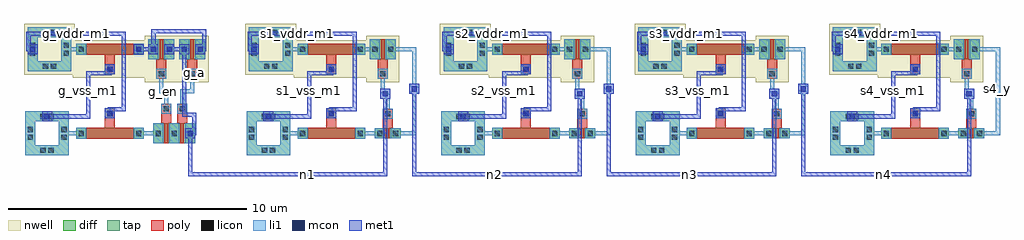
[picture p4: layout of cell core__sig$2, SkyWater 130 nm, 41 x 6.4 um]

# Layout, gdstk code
from math import pi, radians
import gdstk
lib = gdstk.Library(unit=1e-6, precision=1e-09)
def R(c, l, rs):  # rectangles x0, y0, x1, y1
    for r in rs: c.add(gdstk.rectangle(r[:2], r[2:], *l))
def A(c, l, x, y, w, h, nx, ny, dx, dy):  # array of equal rectangles
    R(c, l, [(x+i*dx, y+j*dy, x+i*dx+w, y+j*dy+h) for i in range(nx) for j in range(ny)])
def P(c, l, *ps):  # polygons
    for p in ps: c.add(gdstk.Polygon(p, *l))
nwell = (64, 20)
diff = (65, 20)
tap = (65, 44)
poly = (66, 20)
licon = (66, 44)
li1 = (67, 20)
mcon = (67, 44)
met1 = (68, 20)

mos_array_3_4_2 = lib.new_cell('mos_array$3$4$2')
R(mos_array_3_4_2, nwell, [(-0.15,-0.15,1.24,1.81)])
R(mos_array_3_4_2, diff, [(0,0,1.09,0.84)])
R(mos_array_3_4_2, poly, [(0.47,0,0.62,0.84), (0.335,0.84,0.755,1.66)])
R(mos_array_3_4_2, licon, [(0.1,0.31,0.32,0.53), (0.77,0.31,0.99,0.53), (0.435,1.34,0.655,1.56)])
R(mos_array_3_4_2, li1, [(0,0,0.42,0.84), (0.67,0,1.09,0.84), (0.335,1.24,0.755,1.66)])

mp__mp_3_2 = lib.new_cell('mp__mp$3$2')
mp__mp_3_2.add(gdstk.Reference(mos_array_3_4_2, (0,0)))

guard_ring_1_4_2 = lib.new_cell('guard_ring$1$4$2')
R(guard_ring_1_4_2, nwell, [(-0.15,-0.15,1.99,1.99)])
P(guard_ring_1_4_2, tap, [(0,0),(0,1.42),(0.42,1.42),(0.42,0.42),(1.42,0.42),(1.42,1.42),(0,1.42),(0,1.84),(1.84,1.84),(1.84,0)])
R(guard_ring_1_4_2, licon, [(0.643,0.1,0.863,0.32), (0.977,0.1,1.197,0.32), (0.1,0.643,0.32,0.863), (1.52,0.643,1.74,0.863), (0.1,0.977,0.32,1.197), (1.52,0.977,1.74,1.197), (0.643,1.52,0.863,1.74), (0.977,1.52,1.197,1.74)])
P(guard_ring_1_4_2, li1, [(0,0),(0,1.42),(0.42,1.42),(0.42,0.42),(1.42,0.42),(1.42,1.42),(0,1.42),(0,1.84),(1.84,1.84),(1.84,0)])

nwell_tap__nwell_tap_4_2 = lib.new_cell('nwell_tap__nwell_tap$4$2')
nwell_tap__nwell_tap_4_2.add(gdstk.Reference(guard_ring_1_4_2, (0,0)))

mos_array_2_4_2 = lib.new_cell('mos_array$2$4$2')
R(mos_array_2_4_2, nwell, [(-0.15,-0.15,2.99,1.43)])
R(mos_array_2_4_2, diff, [(0,0,2.84,0.46)])
R(mos_array_2_4_2, poly, [(0.42,0,2.42,0.46), (1.21,0.46,1.63,1.28)])
R(mos_array_2_4_2, licon, [(0.1,0.12,0.32,0.34), (2.52,0.12,2.74,0.34), (1.31,0.96,1.53,1.18)])
R(mos_array_2_4_2, li1, [(0,0,0.42,0.46), (2.42,0,2.84,0.46), (1.21,0.86,1.63,1.28)])

mph__mph_4_2 = lib.new_cell('mph__mph$4$2')
mph__mph_4_2.add(gdstk.Reference(mos_array_2_4_2, (0,0)))

mos_array_1_4_2 = lib.new_cell('mos_array$1$4$2')
R(mos_array_1_4_2, diff, [(0,0,1.09,0.42)])
R(mos_array_1_4_2, poly, [(0.47,0,0.62,0.42), (0.335,0.42,0.755,1.24)])
R(mos_array_1_4_2, licon, [(0.1,0.1,0.32,0.32), (0.77,0.1,0.99,0.32), (0.435,0.92,0.655,1.14)])
R(mos_array_1_4_2, li1, [(0,0,0.42,0.42), (0.67,0,1.09,0.42), (0.335,0.82,0.755,1.24)])

mn__mn_3_2 = lib.new_cell('mn__mn$3$2')
mn__mn_3_2.add(gdstk.Reference(mos_array_1_4_2, (0,0)))

guard_ring_5_2 = lib.new_cell('guard_ring$5$2')
P(guard_ring_5_2, tap, [(0,0),(0,1.42),(0.42,1.42),(0.42,0.42),(1.42,0.42),(1.42,1.42),(0,1.42),(0,1.84),(1.84,1.84),(1.84,0)])
R(guard_ring_5_2, licon, [(0.643,0.1,0.863,0.32), (0.977,0.1,1.197,0.32), (0.1,0.643,0.32,0.863), (1.52,0.643,1.74,0.863), (0.1,0.977,0.32,1.197), (1.52,0.977,1.74,1.197), (0.643,1.52,0.863,1.74), (0.977,1.52,1.197,1.74)])
P(guard_ring_5_2, li1, [(0,0),(0,1.42),(0.42,1.42),(0.42,0.42),(1.42,0.42),(1.42,1.42),(0,1.42),(0,1.84),(1.84,1.84),(1.84,0)])

psub_tap__psub_tap_4_2 = lib.new_cell('psub_tap__psub_tap$4$2')
psub_tap__psub_tap_4_2.add(gdstk.Reference(guard_ring_5_2, (0,0)))

mos_array_8_2 = lib.new_cell('mos_array$8$2')
R(mos_array_8_2, diff, [(0,0,2.84,0.46)])
R(mos_array_8_2, poly, [(0.42,0,2.42,0.46), (1.21,0.46,1.63,1.28)])
R(mos_array_8_2, licon, [(0.1,0.12,0.32,0.34), (2.52,0.12,2.74,0.34), (1.31,0.96,1.53,1.18)])
R(mos_array_8_2, li1, [(0,0,0.42,0.46), (2.42,0,2.84,0.46), (1.21,0.86,1.63,1.28)])

mnt__mnt_4_2 = lib.new_cell('mnt__mnt$4$2')
mnt__mnt_4_2.add(gdstk.Reference(mos_array_8_2, (0,0)))

core__core_4_2 = lib.new_cell('core__core$4$2')
R(core__core_4_2, li1, [(3.575,1.03,3.995,1.2), (3.375,2.54,3.795,2.71)])
core__core_4_2.add(gdstk.FlexPath([(3.585,2.71),(3.585,1.87),(3.785,1.87),(3.785,1.03)], 0.17, ends="flush", simple_path=True, layer=67, datatype=20))  # li1
core__core_4_2.add(gdstk.FlexPath([(3.92,3.74),(4.9,3.74),(4.9,0.21),(4.12,0.21)], 0.17, ends="flush", simple_path=True, layer=67, datatype=20))  # li1
core__core_4_2.add(gdstk.FlexPath([(2.63,3.74),(3.25,3.74)], 0.17, ends="flush", simple_path=True, layer=67, datatype=20))  # li1
core__core_4_2.add(gdstk.FlexPath([(2.63,0.21),(3.45,0.21)], 0.17, ends="flush", simple_path=True, layer=67, datatype=20))  # li1
core__core_4_2.add(gdstk.FlexPath([(0.21,3.74),(-0.41,3.74)], 0.17, ends="flush", simple_path=True, layer=67, datatype=20))  # li1
core__core_4_2.add(gdstk.FlexPath([(0.21,0.21),(-0.51,0.21)], 0.17, ends="flush", simple_path=True, layer=67, datatype=20))  # li1
core__core_4_2.add(gdstk.Reference(mp__mp_3_2, (3.04,4.16), x_reflection=True))
core__core_4_2.add(gdstk.Reference(nwell_tap__nwell_tap_4_2, (-2.04,2.82)))
core__core_4_2.add(gdstk.Reference(mph__mph_4_2, (0,3.97), x_reflection=True))
core__core_4_2.add(gdstk.Reference(mn__mn_3_2, (3.24,0)))
core__core_4_2.add(gdstk.Reference(psub_tap__psub_tap_4_2, (-2.14,-0.71)))
core__core_4_2.add(gdstk.Reference(mnt__mnt_4_2, (0,-0.02)))
core__core_4_2.add(gdstk.Label('a', (3.685,1.87), layer=67, texttype=5))
core__core_4_2.add(gdstk.Label('y', (4.9,2.075), layer=67, texttype=5))
core__core_4_2.add(gdstk.Label('py', (2.94,3.74), layer=67, texttype=5))
core__core_4_2.add(gdstk.Label('ny', (3.04,0.21), layer=67, texttype=5))
core__core_4_2.add(gdstk.Label('vddr', (-0.1,3.74), layer=67, texttype=5))
core__core_4_2.add(gdstk.Label('vss', (-0.15,0.21), layer=67, texttype=5))
core__core_4_2.add(gdstk.Label('vddr', (-1.83,3.74), layer=67, texttype=5))
core__core_4_2.add(gdstk.Label('vss', (-1.22,0.92), layer=67, texttype=5))
core__core_4_2.add(gdstk.Label('mph_g', (1.42,2.9), layer=67, texttype=5))
core__core_4_2.add(gdstk.Label('mnt_g', (1.42,1.05), layer=67, texttype=5))

s4__ro_stage_wstv0p46 = lib.new_cell('s4__ro_stage_wstv0p46')
R(s4__ro_stage_wstv0p46, li1, [(-1.43,0.71,-1.01,1.13), (1.21,0.84,1.63,1.26), (1.21,2.69,1.63,3.11), (-2.04,3.53,-1.62,3.95)])
R(s4__ro_stage_wstv0p46, mcon, [(-1.33,0.81,-1.11,1.03), (1.31,0.94,1.53,1.16), (1.31,2.79,1.53,3.01), (-1.94,3.63,-1.72,3.85)])
R(s4__ro_stage_wstv0p46, met1, [(-1.43,0.71,-1.01,1.13), (1.21,0.84,1.63,1.26), (1.21,2.69,1.63,3.11), (-2.04,3.53,-1.62,3.95)])
s4__ro_stage_wstv0p46.add(gdstk.FlexPath([(1.42,2.9),(1.42,2.73),(0.5,2.73),(0.5,0.92),(-1.22,0.92),(-1.22,0.92)], 0.17, ends="flush", simple_path=True, layer=68, datatype=20))  # met1
s4__ro_stage_wstv0p46.add(gdstk.FlexPath([(1.42,1.05),(1.42,1.22),(2.4,1.22),(2.4,4.4),(-2,4.4),(-2,3.74),(-1.83,3.74)], 0.17, ends="flush", simple_path=True, layer=68, datatype=20))  # met1
s4__ro_stage_wstv0p46.add(gdstk.Reference(core__core_4_2, (0,0)))
s4__ro_stage_wstv0p46.add(gdstk.Label('vss', (0.5,1.51), layer=68, texttype=5))
s4__ro_stage_wstv0p46.add(gdstk.Label('vddr', (1.95,4.4), layer=68, texttype=5))

mos_array_3_3_2 = lib.new_cell('mos_array$3$3$2')
R(mos_array_3_3_2, nwell, [(-0.15,-0.15,1.24,1.81)])
R(mos_array_3_3_2, diff, [(0,0,1.09,0.84)])
R(mos_array_3_3_2, poly, [(0.47,0,0.62,0.84), (0.335,0.84,0.755,1.66)])
R(mos_array_3_3_2, licon, [(0.1,0.31,0.32,0.53), (0.77,0.31,0.99,0.53), (0.435,1.34,0.655,1.56)])
R(mos_array_3_3_2, li1, [(0,0,0.42,0.84), (0.67,0,1.09,0.84), (0.335,1.24,0.755,1.66)])

mp__mp_2_2 = lib.new_cell('mp__mp$2$2')
mp__mp_2_2.add(gdstk.Reference(mos_array_3_3_2, (0,0)))

guard_ring_1_3_2 = lib.new_cell('guard_ring$1$3$2')
R(guard_ring_1_3_2, nwell, [(-0.15,-0.15,1.99,1.99)])
P(guard_ring_1_3_2, tap, [(0,0),(0,1.42),(0.42,1.42),(0.42,0.42),(1.42,0.42),(1.42,1.42),(0,1.42),(0,1.84),(1.84,1.84),(1.84,0)])
R(guard_ring_1_3_2, licon, [(0.643,0.1,0.863,0.32), (0.977,0.1,1.197,0.32), (0.1,0.643,0.32,0.863), (1.52,0.643,1.74,0.863), (0.1,0.977,0.32,1.197), (1.52,0.977,1.74,1.197), (0.643,1.52,0.863,1.74), (0.977,1.52,1.197,1.74)])
P(guard_ring_1_3_2, li1, [(0,0),(0,1.42),(0.42,1.42),(0.42,0.42),(1.42,0.42),(1.42,1.42),(0,1.42),(0,1.84),(1.84,1.84),(1.84,0)])

nwell_tap__nwell_tap_3_2 = lib.new_cell('nwell_tap__nwell_tap$3$2')
nwell_tap__nwell_tap_3_2.add(gdstk.Reference(guard_ring_1_3_2, (0,0)))

mos_array_2_3_2 = lib.new_cell('mos_array$2$3$2')
R(mos_array_2_3_2, nwell, [(-0.15,-0.15,2.99,1.43)])
R(mos_array_2_3_2, diff, [(0,0,2.84,0.46)])
R(mos_array_2_3_2, poly, [(0.42,0,2.42,0.46), (1.21,0.46,1.63,1.28)])
R(mos_array_2_3_2, licon, [(0.1,0.12,0.32,0.34), (2.52,0.12,2.74,0.34), (1.31,0.96,1.53,1.18)])
R(mos_array_2_3_2, li1, [(0,0,0.42,0.46), (2.42,0,2.84,0.46), (1.21,0.86,1.63,1.28)])

mph__mph_3_2 = lib.new_cell('mph__mph$3$2')
mph__mph_3_2.add(gdstk.Reference(mos_array_2_3_2, (0,0)))

mos_array_1_3_2 = lib.new_cell('mos_array$1$3$2')
R(mos_array_1_3_2, diff, [(0,0,1.09,0.42)])
R(mos_array_1_3_2, poly, [(0.47,0,0.62,0.42), (0.335,0.42,0.755,1.24)])
R(mos_array_1_3_2, licon, [(0.1,0.1,0.32,0.32), (0.77,0.1,0.99,0.32), (0.435,0.92,0.655,1.14)])
R(mos_array_1_3_2, li1, [(0,0,0.42,0.42), (0.67,0,1.09,0.42), (0.335,0.82,0.755,1.24)])

mn__mn_2_2 = lib.new_cell('mn__mn$2$2')
mn__mn_2_2.add(gdstk.Reference(mos_array_1_3_2, (0,0)))

guard_ring_4_2 = lib.new_cell('guard_ring$4$2')
P(guard_ring_4_2, tap, [(0,0),(0,1.42),(0.42,1.42),(0.42,0.42),(1.42,0.42),(1.42,1.42),(0,1.42),(0,1.84),(1.84,1.84),(1.84,0)])
R(guard_ring_4_2, licon, [(0.643,0.1,0.863,0.32), (0.977,0.1,1.197,0.32), (0.1,0.643,0.32,0.863), (1.52,0.643,1.74,0.863), (0.1,0.977,0.32,1.197), (1.52,0.977,1.74,1.197), (0.643,1.52,0.863,1.74), (0.977,1.52,1.197,1.74)])
P(guard_ring_4_2, li1, [(0,0),(0,1.42),(0.42,1.42),(0.42,0.42),(1.42,0.42),(1.42,1.42),(0,1.42),(0,1.84),(1.84,1.84),(1.84,0)])

psub_tap__psub_tap_3_2 = lib.new_cell('psub_tap__psub_tap$3$2')
psub_tap__psub_tap_3_2.add(gdstk.Reference(guard_ring_4_2, (0,0)))

mos_array_7_2 = lib.new_cell('mos_array$7$2')
R(mos_array_7_2, diff, [(0,0,2.84,0.46)])
R(mos_array_7_2, poly, [(0.42,0,2.42,0.46), (1.21,0.46,1.63,1.28)])
R(mos_array_7_2, licon, [(0.1,0.12,0.32,0.34), (2.52,0.12,2.74,0.34), (1.31,0.96,1.53,1.18)])
R(mos_array_7_2, li1, [(0,0,0.42,0.46), (2.42,0,2.84,0.46), (1.21,0.86,1.63,1.28)])

mnt__mnt_3_2 = lib.new_cell('mnt__mnt$3$2')
mnt__mnt_3_2.add(gdstk.Reference(mos_array_7_2, (0,0)))

core__core_3_2 = lib.new_cell('core__core$3$2')
R(core__core_3_2, li1, [(3.575,1.03,3.995,1.2), (3.375,2.54,3.795,2.71)])
core__core_3_2.add(gdstk.FlexPath([(3.585,2.71),(3.585,1.87),(3.785,1.87),(3.785,1.03)], 0.17, ends="flush", simple_path=True, layer=67, datatype=20))  # li1
core__core_3_2.add(gdstk.FlexPath([(3.92,3.74),(4.9,3.74),(4.9,0.21),(4.12,0.21)], 0.17, ends="flush", simple_path=True, layer=67, datatype=20))  # li1
core__core_3_2.add(gdstk.FlexPath([(2.63,3.74),(3.25,3.74)], 0.17, ends="flush", simple_path=True, layer=67, datatype=20))  # li1
core__core_3_2.add(gdstk.FlexPath([(2.63,0.21),(3.45,0.21)], 0.17, ends="flush", simple_path=True, layer=67, datatype=20))  # li1
core__core_3_2.add(gdstk.FlexPath([(0.21,3.74),(-0.41,3.74)], 0.17, ends="flush", simple_path=True, layer=67, datatype=20))  # li1
core__core_3_2.add(gdstk.FlexPath([(0.21,0.21),(-0.51,0.21)], 0.17, ends="flush", simple_path=True, layer=67, datatype=20))  # li1
core__core_3_2.add(gdstk.Reference(mp__mp_2_2, (3.04,4.16), x_reflection=True))
core__core_3_2.add(gdstk.Reference(nwell_tap__nwell_tap_3_2, (-2.04,2.82)))
core__core_3_2.add(gdstk.Reference(mph__mph_3_2, (0,3.97), x_reflection=True))
core__core_3_2.add(gdstk.Reference(mn__mn_2_2, (3.24,0)))
core__core_3_2.add(gdstk.Reference(psub_tap__psub_tap_3_2, (-2.14,-0.71)))
core__core_3_2.add(gdstk.Reference(mnt__mnt_3_2, (0,-0.02)))
core__core_3_2.add(gdstk.Label('a', (3.685,1.87), layer=67, texttype=5))
core__core_3_2.add(gdstk.Label('y', (4.9,2.075), layer=67, texttype=5))
core__core_3_2.add(gdstk.Label('py', (2.94,3.74), layer=67, texttype=5))
core__core_3_2.add(gdstk.Label('ny', (3.04,0.21), layer=67, texttype=5))
core__core_3_2.add(gdstk.Label('vddr', (-0.1,3.74), layer=67, texttype=5))
core__core_3_2.add(gdstk.Label('vss', (-0.15,0.21), layer=67, texttype=5))
core__core_3_2.add(gdstk.Label('vddr', (-1.83,3.74), layer=67, texttype=5))
core__core_3_2.add(gdstk.Label('vss', (-1.22,0.92), layer=67, texttype=5))
core__core_3_2.add(gdstk.Label('mph_g', (1.42,2.9), layer=67, texttype=5))
core__core_3_2.add(gdstk.Label('mnt_g', (1.42,1.05), layer=67, texttype=5))

s3__ro_stage_wstv0p46 = lib.new_cell('s3__ro_stage_wstv0p46')
R(s3__ro_stage_wstv0p46, li1, [(-1.43,0.71,-1.01,1.13), (1.21,0.84,1.63,1.26), (1.21,2.69,1.63,3.11), (-2.04,3.53,-1.62,3.95)])
R(s3__ro_stage_wstv0p46, mcon, [(-1.33,0.81,-1.11,1.03), (1.31,0.94,1.53,1.16), (1.31,2.79,1.53,3.01), (-1.94,3.63,-1.72,3.85)])
R(s3__ro_stage_wstv0p46, met1, [(-1.43,0.71,-1.01,1.13), (1.21,0.84,1.63,1.26), (1.21,2.69,1.63,3.11), (-2.04,3.53,-1.62,3.95)])
s3__ro_stage_wstv0p46.add(gdstk.FlexPath([(1.42,2.9),(1.42,2.73),(0.5,2.73),(0.5,0.92),(-1.22,0.92),(-1.22,0.92)], 0.17, ends="flush", simple_path=True, layer=68, datatype=20))  # met1
s3__ro_stage_wstv0p46.add(gdstk.FlexPath([(1.42,1.05),(1.42,1.22),(2.4,1.22),(2.4,4.4),(-2,4.4),(-2,3.74),(-1.83,3.74)], 0.17, ends="flush", simple_path=True, layer=68, datatype=20))  # met1
s3__ro_stage_wstv0p46.add(gdstk.Reference(core__core_3_2, (0,0)))
s3__ro_stage_wstv0p46.add(gdstk.Label('vss', (0.5,1.51), layer=68, texttype=5))
s3__ro_stage_wstv0p46.add(gdstk.Label('vddr', (1.95,4.4), layer=68, texttype=5))

mos_array_3_2_2 = lib.new_cell('mos_array$3$2$2')
R(mos_array_3_2_2, nwell, [(-0.15,-0.15,1.24,1.81)])
R(mos_array_3_2_2, diff, [(0,0,1.09,0.84)])
R(mos_array_3_2_2, poly, [(0.47,0,0.62,0.84), (0.335,0.84,0.755,1.66)])
R(mos_array_3_2_2, licon, [(0.1,0.31,0.32,0.53), (0.77,0.31,0.99,0.53), (0.435,1.34,0.655,1.56)])
R(mos_array_3_2_2, li1, [(0,0,0.42,0.84), (0.67,0,1.09,0.84), (0.335,1.24,0.755,1.66)])

mp__mp_1_2 = lib.new_cell('mp__mp$1$2')
mp__mp_1_2.add(gdstk.Reference(mos_array_3_2_2, (0,0)))

guard_ring_1_2_2 = lib.new_cell('guard_ring$1$2$2')
R(guard_ring_1_2_2, nwell, [(-0.15,-0.15,1.99,1.99)])
P(guard_ring_1_2_2, tap, [(0,0),(0,1.42),(0.42,1.42),(0.42,0.42),(1.42,0.42),(1.42,1.42),(0,1.42),(0,1.84),(1.84,1.84),(1.84,0)])
R(guard_ring_1_2_2, licon, [(0.643,0.1,0.863,0.32), (0.977,0.1,1.197,0.32), (0.1,0.643,0.32,0.863), (1.52,0.643,1.74,0.863), (0.1,0.977,0.32,1.197), (1.52,0.977,1.74,1.197), (0.643,1.52,0.863,1.74), (0.977,1.52,1.197,1.74)])
P(guard_ring_1_2_2, li1, [(0,0),(0,1.42),(0.42,1.42),(0.42,0.42),(1.42,0.42),(1.42,1.42),(0,1.42),(0,1.84),(1.84,1.84),(1.84,0)])

nwell_tap__nwell_tap_2_2 = lib.new_cell('nwell_tap__nwell_tap$2$2')
nwell_tap__nwell_tap_2_2.add(gdstk.Reference(guard_ring_1_2_2, (0,0)))

mos_array_2_2_2 = lib.new_cell('mos_array$2$2$2')
R(mos_array_2_2_2, nwell, [(-0.15,-0.15,2.99,1.43)])
R(mos_array_2_2_2, diff, [(0,0,2.84,0.46)])
R(mos_array_2_2_2, poly, [(0.42,0,2.42,0.46), (1.21,0.46,1.63,1.28)])
R(mos_array_2_2_2, licon, [(0.1,0.12,0.32,0.34), (2.52,0.12,2.74,0.34), (1.31,0.96,1.53,1.18)])
R(mos_array_2_2_2, li1, [(0,0,0.42,0.46), (2.42,0,2.84,0.46), (1.21,0.86,1.63,1.28)])

mph__mph_2_2 = lib.new_cell('mph__mph$2$2')
mph__mph_2_2.add(gdstk.Reference(mos_array_2_2_2, (0,0)))

mos_array_1_2_2 = lib.new_cell('mos_array$1$2$2')
R(mos_array_1_2_2, diff, [(0,0,1.09,0.42)])
R(mos_array_1_2_2, poly, [(0.47,0,0.62,0.42), (0.335,0.42,0.755,1.24)])
R(mos_array_1_2_2, licon, [(0.1,0.1,0.32,0.32), (0.77,0.1,0.99,0.32), (0.435,0.92,0.655,1.14)])
R(mos_array_1_2_2, li1, [(0,0,0.42,0.42), (0.67,0,1.09,0.42), (0.335,0.82,0.755,1.24)])

mn__mn_1_2 = lib.new_cell('mn__mn$1$2')
mn__mn_1_2.add(gdstk.Reference(mos_array_1_2_2, (0,0)))

guard_ring_3_2 = lib.new_cell('guard_ring$3$2')
P(guard_ring_3_2, tap, [(0,0),(0,1.42),(0.42,1.42),(0.42,0.42),(1.42,0.42),(1.42,1.42),(0,1.42),(0,1.84),(1.84,1.84),(1.84,0)])
R(guard_ring_3_2, licon, [(0.643,0.1,0.863,0.32), (0.977,0.1,1.197,0.32), (0.1,0.643,0.32,0.863), (1.52,0.643,1.74,0.863), (0.1,0.977,0.32,1.197), (1.52,0.977,1.74,1.197), (0.643,1.52,0.863,1.74), (0.977,1.52,1.197,1.74)])
P(guard_ring_3_2, li1, [(0,0),(0,1.42),(0.42,1.42),(0.42,0.42),(1.42,0.42),(1.42,1.42),(0,1.42),(0,1.84),(1.84,1.84),(1.84,0)])

psub_tap__psub_tap_2_2 = lib.new_cell('psub_tap__psub_tap$2$2')
psub_tap__psub_tap_2_2.add(gdstk.Reference(guard_ring_3_2, (0,0)))

mos_array_6_2 = lib.new_cell('mos_array$6$2')
R(mos_array_6_2, diff, [(0,0,2.84,0.46)])
R(mos_array_6_2, poly, [(0.42,0,2.42,0.46), (1.21,0.46,1.63,1.28)])
R(mos_array_6_2, licon, [(0.1,0.12,0.32,0.34), (2.52,0.12,2.74,0.34), (1.31,0.96,1.53,1.18)])
R(mos_array_6_2, li1, [(0,0,0.42,0.46), (2.42,0,2.84,0.46), (1.21,0.86,1.63,1.28)])

mnt__mnt_2_2 = lib.new_cell('mnt__mnt$2$2')
mnt__mnt_2_2.add(gdstk.Reference(mos_array_6_2, (0,0)))

core__core_2_2 = lib.new_cell('core__core$2$2')
R(core__core_2_2, li1, [(3.575,1.03,3.995,1.2), (3.375,2.54,3.795,2.71)])
core__core_2_2.add(gdstk.FlexPath([(3.585,2.71),(3.585,1.87),(3.785,1.87),(3.785,1.03)], 0.17, ends="flush", simple_path=True, layer=67, datatype=20))  # li1
core__core_2_2.add(gdstk.FlexPath([(3.92,3.74),(4.9,3.74),(4.9,0.21),(4.12,0.21)], 0.17, ends="flush", simple_path=True, layer=67, datatype=20))  # li1
core__core_2_2.add(gdstk.FlexPath([(2.63,3.74),(3.25,3.74)], 0.17, ends="flush", simple_path=True, layer=67, datatype=20))  # li1
core__core_2_2.add(gdstk.FlexPath([(2.63,0.21),(3.45,0.21)], 0.17, ends="flush", simple_path=True, layer=67, datatype=20))  # li1
core__core_2_2.add(gdstk.FlexPath([(0.21,3.74),(-0.41,3.74)], 0.17, ends="flush", simple_path=True, layer=67, datatype=20))  # li1
core__core_2_2.add(gdstk.FlexPath([(0.21,0.21),(-0.51,0.21)], 0.17, ends="flush", simple_path=True, layer=67, datatype=20))  # li1
core__core_2_2.add(gdstk.Reference(mp__mp_1_2, (3.04,4.16), x_reflection=True))
core__core_2_2.add(gdstk.Reference(nwell_tap__nwell_tap_2_2, (-2.04,2.82)))
core__core_2_2.add(gdstk.Reference(mph__mph_2_2, (0,3.97), x_reflection=True))
core__core_2_2.add(gdstk.Reference(mn__mn_1_2, (3.24,0)))
core__core_2_2.add(gdstk.Reference(psub_tap__psub_tap_2_2, (-2.14,-0.71)))
core__core_2_2.add(gdstk.Reference(mnt__mnt_2_2, (0,-0.02)))
core__core_2_2.add(gdstk.Label('a', (3.685,1.87), layer=67, texttype=5))
core__core_2_2.add(gdstk.Label('y', (4.9,2.075), layer=67, texttype=5))
core__core_2_2.add(gdstk.Label('py', (2.94,3.74), layer=67, texttype=5))
core__core_2_2.add(gdstk.Label('ny', (3.04,0.21), layer=67, texttype=5))
core__core_2_2.add(gdstk.Label('vddr', (-0.1,3.74), layer=67, texttype=5))
core__core_2_2.add(gdstk.Label('vss', (-0.15,0.21), layer=67, texttype=5))
core__core_2_2.add(gdstk.Label('vddr', (-1.83,3.74), layer=67, texttype=5))
core__core_2_2.add(gdstk.Label('vss', (-1.22,0.92), layer=67, texttype=5))
core__core_2_2.add(gdstk.Label('mph_g', (1.42,2.9), layer=67, texttype=5))
core__core_2_2.add(gdstk.Label('mnt_g', (1.42,1.05), layer=67, texttype=5))

s2__ro_stage_wstv0p46 = lib.new_cell('s2__ro_stage_wstv0p46')
R(s2__ro_stage_wstv0p46, li1, [(-1.43,0.71,-1.01,1.13), (1.21,0.84,1.63,1.26), (1.21,2.69,1.63,3.11), (-2.04,3.53,-1.62,3.95)])
R(s2__ro_stage_wstv0p46, mcon, [(-1.33,0.81,-1.11,1.03), (1.31,0.94,1.53,1.16), (1.31,2.79,1.53,3.01), (-1.94,3.63,-1.72,3.85)])
R(s2__ro_stage_wstv0p46, met1, [(-1.43,0.71,-1.01,1.13), (1.21,0.84,1.63,1.26), (1.21,2.69,1.63,3.11), (-2.04,3.53,-1.62,3.95)])
s2__ro_stage_wstv0p46.add(gdstk.FlexPath([(1.42,2.9),(1.42,2.73),(0.5,2.73),(0.5,0.92),(-1.22,0.92),(-1.22,0.92)], 0.17, ends="flush", simple_path=True, layer=68, datatype=20))  # met1
s2__ro_stage_wstv0p46.add(gdstk.FlexPath([(1.42,1.05),(1.42,1.22),(2.4,1.22),(2.4,4.4),(-2,4.4),(-2,3.74),(-1.83,3.74)], 0.17, ends="flush", simple_path=True, layer=68, datatype=20))  # met1
s2__ro_stage_wstv0p46.add(gdstk.Reference(core__core_2_2, (0,0)))
s2__ro_stage_wstv0p46.add(gdstk.Label('vss', (0.5,1.51), layer=68, texttype=5))
s2__ro_stage_wstv0p46.add(gdstk.Label('vddr', (1.95,4.4), layer=68, texttype=5))

mos_array_3_1_2 = lib.new_cell('mos_array$3$1$2')
R(mos_array_3_1_2, nwell, [(-0.15,-0.15,1.24,1.81)])
R(mos_array_3_1_2, diff, [(0,0,1.09,0.84)])
R(mos_array_3_1_2, poly, [(0.47,0,0.62,0.84), (0.335,0.84,0.755,1.66)])
R(mos_array_3_1_2, licon, [(0.1,0.31,0.32,0.53), (0.77,0.31,0.99,0.53), (0.435,1.34,0.655,1.56)])
R(mos_array_3_1_2, li1, [(0,0,0.42,0.84), (0.67,0,1.09,0.84), (0.335,1.24,0.755,1.66)])

mp__mp_5 = lib.new_cell('mp__mp$5')
mp__mp_5.add(gdstk.Reference(mos_array_3_1_2, (0,0)))

guard_ring_1_1_2 = lib.new_cell('guard_ring$1$1$2')
R(guard_ring_1_1_2, nwell, [(-0.15,-0.15,1.99,1.99)])
P(guard_ring_1_1_2, tap, [(0,0),(0,1.42),(0.42,1.42),(0.42,0.42),(1.42,0.42),(1.42,1.42),(0,1.42),(0,1.84),(1.84,1.84),(1.84,0)])
R(guard_ring_1_1_2, licon, [(0.643,0.1,0.863,0.32), (0.977,0.1,1.197,0.32), (0.1,0.643,0.32,0.863), (1.52,0.643,1.74,0.863), (0.1,0.977,0.32,1.197), (1.52,0.977,1.74,1.197), (0.643,1.52,0.863,1.74), (0.977,1.52,1.197,1.74)])
P(guard_ring_1_1_2, li1, [(0,0),(0,1.42),(0.42,1.42),(0.42,0.42),(1.42,0.42),(1.42,1.42),(0,1.42),(0,1.84),(1.84,1.84),(1.84,0)])

nwell_tap__nwell_tap_1_2 = lib.new_cell('nwell_tap__nwell_tap$1$2')
nwell_tap__nwell_tap_1_2.add(gdstk.Reference(guard_ring_1_1_2, (0,0)))

mos_array_2_1_2 = lib.new_cell('mos_array$2$1$2')
R(mos_array_2_1_2, nwell, [(-0.15,-0.15,2.99,1.43)])
R(mos_array_2_1_2, diff, [(0,0,2.84,0.46)])
R(mos_array_2_1_2, poly, [(0.42,0,2.42,0.46), (1.21,0.46,1.63,1.28)])
R(mos_array_2_1_2, licon, [(0.1,0.12,0.32,0.34), (2.52,0.12,2.74,0.34), (1.31,0.96,1.53,1.18)])
R(mos_array_2_1_2, li1, [(0,0,0.42,0.46), (2.42,0,2.84,0.46), (1.21,0.86,1.63,1.28)])

mph__mph_1_2 = lib.new_cell('mph__mph$1$2')
mph__mph_1_2.add(gdstk.Reference(mos_array_2_1_2, (0,0)))

mos_array_1_1_2 = lib.new_cell('mos_array$1$1$2')
R(mos_array_1_1_2, diff, [(0,0,1.09,0.42)])
R(mos_array_1_1_2, poly, [(0.47,0,0.62,0.42), (0.335,0.42,0.755,1.24)])
R(mos_array_1_1_2, licon, [(0.1,0.1,0.32,0.32), (0.77,0.1,0.99,0.32), (0.435,0.92,0.655,1.14)])
R(mos_array_1_1_2, li1, [(0,0,0.42,0.42), (0.67,0,1.09,0.42), (0.335,0.82,0.755,1.24)])

mn__mn_5 = lib.new_cell('mn__mn$5')
mn__mn_5.add(gdstk.Reference(mos_array_1_1_2, (0,0)))

guard_ring_2_2 = lib.new_cell('guard_ring$2$2')
P(guard_ring_2_2, tap, [(0,0),(0,1.42),(0.42,1.42),(0.42,0.42),(1.42,0.42),(1.42,1.42),(0,1.42),(0,1.84),(1.84,1.84),(1.84,0)])
R(guard_ring_2_2, licon, [(0.643,0.1,0.863,0.32), (0.977,0.1,1.197,0.32), (0.1,0.643,0.32,0.863), (1.52,0.643,1.74,0.863), (0.1,0.977,0.32,1.197), (1.52,0.977,1.74,1.197), (0.643,1.52,0.863,1.74), (0.977,1.52,1.197,1.74)])
P(guard_ring_2_2, li1, [(0,0),(0,1.42),(0.42,1.42),(0.42,0.42),(1.42,0.42),(1.42,1.42),(0,1.42),(0,1.84),(1.84,1.84),(1.84,0)])

psub_tap__psub_tap_1_2 = lib.new_cell('psub_tap__psub_tap$1$2')
psub_tap__psub_tap_1_2.add(gdstk.Reference(guard_ring_2_2, (0,0)))

mos_array_5_2 = lib.new_cell('mos_array$5$2')
R(mos_array_5_2, diff, [(0,0,2.84,0.46)])
R(mos_array_5_2, poly, [(0.42,0,2.42,0.46), (1.21,0.46,1.63,1.28)])
R(mos_array_5_2, licon, [(0.1,0.12,0.32,0.34), (2.52,0.12,2.74,0.34), (1.31,0.96,1.53,1.18)])
R(mos_array_5_2, li1, [(0,0,0.42,0.46), (2.42,0,2.84,0.46), (1.21,0.86,1.63,1.28)])

mnt__mnt_1_2 = lib.new_cell('mnt__mnt$1$2')
mnt__mnt_1_2.add(gdstk.Reference(mos_array_5_2, (0,0)))

core__core_1_2 = lib.new_cell('core__core$1$2')
R(core__core_1_2, li1, [(3.575,1.03,3.995,1.2), (3.375,2.54,3.795,2.71)])
core__core_1_2.add(gdstk.FlexPath([(3.585,2.71),(3.585,1.87),(3.785,1.87),(3.785,1.03)], 0.17, ends="flush", simple_path=True, layer=67, datatype=20))  # li1
core__core_1_2.add(gdstk.FlexPath([(3.92,3.74),(4.9,3.74),(4.9,0.21),(4.12,0.21)], 0.17, ends="flush", simple_path=True, layer=67, datatype=20))  # li1
core__core_1_2.add(gdstk.FlexPath([(2.63,3.74),(3.25,3.74)], 0.17, ends="flush", simple_path=True, layer=67, datatype=20))  # li1
core__core_1_2.add(gdstk.FlexPath([(2.63,0.21),(3.45,0.21)], 0.17, ends="flush", simple_path=True, layer=67, datatype=20))  # li1
core__core_1_2.add(gdstk.FlexPath([(0.21,3.74),(-0.41,3.74)], 0.17, ends="flush", simple_path=True, layer=67, datatype=20))  # li1
core__core_1_2.add(gdstk.FlexPath([(0.21,0.21),(-0.51,0.21)], 0.17, ends="flush", simple_path=True, layer=67, datatype=20))  # li1
core__core_1_2.add(gdstk.Reference(mp__mp_5, (3.04,4.16), x_reflection=True))
core__core_1_2.add(gdstk.Reference(nwell_tap__nwell_tap_1_2, (-2.04,2.82)))
core__core_1_2.add(gdstk.Reference(mph__mph_1_2, (0,3.97), x_reflection=True))
core__core_1_2.add(gdstk.Reference(mn__mn_5, (3.24,0)))
core__core_1_2.add(gdstk.Reference(psub_tap__psub_tap_1_2, (-2.14,-0.71)))
core__core_1_2.add(gdstk.Reference(mnt__mnt_1_2, (0,-0.02)))
core__core_1_2.add(gdstk.Label('a', (3.685,1.87), layer=67, texttype=5))
core__core_1_2.add(gdstk.Label('y', (4.9,2.075), layer=67, texttype=5))
core__core_1_2.add(gdstk.Label('py', (2.94,3.74), layer=67, texttype=5))
core__core_1_2.add(gdstk.Label('ny', (3.04,0.21), layer=67, texttype=5))
core__core_1_2.add(gdstk.Label('vddr', (-0.1,3.74), layer=67, texttype=5))
core__core_1_2.add(gdstk.Label('vss', (-0.15,0.21), layer=67, texttype=5))
core__core_1_2.add(gdstk.Label('vddr', (-1.83,3.74), layer=67, texttype=5))
core__core_1_2.add(gdstk.Label('vss', (-1.22,0.92), layer=67, texttype=5))
core__core_1_2.add(gdstk.Label('mph_g', (1.42,2.9), layer=67, texttype=5))
core__core_1_2.add(gdstk.Label('mnt_g', (1.42,1.05), layer=67, texttype=5))

s1__ro_stage_wstv0p46 = lib.new_cell('s1__ro_stage_wstv0p46')
R(s1__ro_stage_wstv0p46, li1, [(-1.43,0.71,-1.01,1.13), (1.21,0.84,1.63,1.26), (1.21,2.69,1.63,3.11), (-2.04,3.53,-1.62,3.95)])
R(s1__ro_stage_wstv0p46, mcon, [(-1.33,0.81,-1.11,1.03), (1.31,0.94,1.53,1.16), (1.31,2.79,1.53,3.01), (-1.94,3.63,-1.72,3.85)])
R(s1__ro_stage_wstv0p46, met1, [(-1.43,0.71,-1.01,1.13), (1.21,0.84,1.63,1.26), (1.21,2.69,1.63,3.11), (-2.04,3.53,-1.62,3.95)])
s1__ro_stage_wstv0p46.add(gdstk.FlexPath([(1.42,2.9),(1.42,2.73),(0.5,2.73),(0.5,0.92),(-1.22,0.92),(-1.22,0.92)], 0.17, ends="flush", simple_path=True, layer=68, datatype=20))  # met1
s1__ro_stage_wstv0p46.add(gdstk.FlexPath([(1.42,1.05),(1.42,1.22),(2.4,1.22),(2.4,4.4),(-2,4.4),(-2,3.74),(-1.83,3.74)], 0.17, ends="flush", simple_path=True, layer=68, datatype=20))  # met1
s1__ro_stage_wstv0p46.add(gdstk.Reference(core__core_1_2, (0,0)))
s1__ro_stage_wstv0p46.add(gdstk.Label('vss', (0.5,1.51), layer=68, texttype=5))
s1__ro_stage_wstv0p46.add(gdstk.Label('vddr', (1.95,4.4), layer=68, texttype=5))

guard_ring_1_8 = lib.new_cell('guard_ring$1$8')
P(guard_ring_1_8, tap, [(0,0),(0,1.42),(0.42,1.42),(0.42,0.42),(1.42,0.42),(1.42,1.42),(0,1.42),(0,1.84),(1.84,1.84),(1.84,0)])
R(guard_ring_1_8, licon, [(0.643,0.1,0.863,0.32), (0.977,0.1,1.197,0.32), (0.1,0.643,0.32,0.863), (1.52,0.643,1.74,0.863), (0.1,0.977,0.32,1.197), (1.52,0.977,1.74,1.197), (0.643,1.52,0.863,1.74), (0.977,1.52,1.197,1.74)])
P(guard_ring_1_8, li1, [(0,0),(0,1.42),(0.42,1.42),(0.42,0.42),(1.42,0.42),(1.42,1.42),(0,1.42),(0,1.84),(1.84,1.84),(1.84,0)])

psub_tap__psub_tap_8 = lib.new_cell('psub_tap__psub_tap$8')
psub_tap__psub_tap_8.add(gdstk.Reference(guard_ring_1_8, (0,0)))

guard_ring_9 = lib.new_cell('guard_ring$9')
R(guard_ring_9, nwell, [(-0.15,-0.15,1.99,1.99)])
P(guard_ring_9, tap, [(0,0),(0,1.42),(0.42,1.42),(0.42,0.42),(1.42,0.42),(1.42,1.42),(0,1.42),(0,1.84),(1.84,1.84),(1.84,0)])
R(guard_ring_9, licon, [(0.643,0.1,0.863,0.32), (0.977,0.1,1.197,0.32), (0.1,0.643,0.32,0.863), (1.52,0.643,1.74,0.863), (0.1,0.977,0.32,1.197), (1.52,0.977,1.74,1.197), (0.643,1.52,0.863,1.74), (0.977,1.52,1.197,1.74)])
P(guard_ring_9, li1, [(0,0),(0,1.42),(0.42,1.42),(0.42,0.42),(1.42,0.42),(1.42,1.42),(0,1.42),(0,1.84),(1.84,1.84),(1.84,0)])

nwell_tap__nwell_tap_8 = lib.new_cell('nwell_tap__nwell_tap$8')
nwell_tap__nwell_tap_8.add(gdstk.Reference(guard_ring_9, (0,0)))

mos_array_4_2 = lib.new_cell('mos_array$4$2')
R(mos_array_4_2, diff, [(0,0,1.76,0.84)])
R(mos_array_4_2, poly, [(0.47,0,0.62,0.84), (1.14,0,1.29,0.84), (0.335,0.84,0.755,1.66), (1.005,0.84,1.425,1.66)])
A(mos_array_4_2, licon, 0.1, 0.31, 0.22, 0.22, 3, 1, 0.67, 0)
R(mos_array_4_2, licon, [(0.435,1.34,0.655,1.56), (1.105,1.34,1.325,1.56)])
A(mos_array_4_2, li1, 0, 0, 0.42, 0.84, 3, 1, 0.67, 0)
R(mos_array_4_2, li1, [(0.335,1.24,0.755,1.66), (1.005,1.24,1.425,1.66)])

mnab__mnab_2 = lib.new_cell('mnab__mnab$2')
mnab__mnab_2.add(gdstk.Reference(mos_array_4_2, (0,0)))

mos_array_3_6 = lib.new_cell('mos_array$3$6')
R(mos_array_3_6, diff, [(0,0,2.84,0.46)])
R(mos_array_3_6, poly, [(0.42,0,2.42,0.46), (1.21,0.46,1.63,1.28)])
R(mos_array_3_6, licon, [(0.1,0.12,0.32,0.34), (2.52,0.12,2.74,0.34), (1.31,0.96,1.53,1.18)])
R(mos_array_3_6, li1, [(0,0,0.42,0.46), (2.42,0,2.84,0.46), (1.21,0.86,1.63,1.28)])

mnt__mnt_6 = lib.new_cell('mnt__mnt$6')
mnt__mnt_6.add(gdstk.Reference(mos_array_3_6, (0,0)))

mos_array_2_6 = lib.new_cell('mos_array$2$6')
R(mos_array_2_6, nwell, [(-0.15,-0.15,1.24,1.81)])
R(mos_array_2_6, diff, [(0,0,1.09,0.84)])
R(mos_array_2_6, poly, [(0.47,0,0.62,0.84), (0.335,0.84,0.755,1.66)])
R(mos_array_2_6, licon, [(0.1,0.31,0.32,0.53), (0.77,0.31,0.99,0.53), (0.435,1.34,0.655,1.56)])
R(mos_array_2_6, li1, [(0,0,0.42,0.84), (0.67,0,1.09,0.84), (0.335,1.24,0.755,1.66)])

mpb__mpb_2 = lib.new_cell('mpb__mpb$2')
mpb__mpb_2.add(gdstk.Reference(mos_array_2_6, (0,0)))

mos_array_1_8 = lib.new_cell('mos_array$1$8')
R(mos_array_1_8, nwell, [(-0.15,-0.15,1.24,1.81)])
R(mos_array_1_8, diff, [(0,0,1.09,0.84)])
R(mos_array_1_8, poly, [(0.47,0,0.62,0.84), (0.335,0.84,0.755,1.66)])
R(mos_array_1_8, licon, [(0.1,0.31,0.32,0.53), (0.77,0.31,0.99,0.53), (0.435,1.34,0.655,1.56)])
R(mos_array_1_8, li1, [(0,0,0.42,0.84), (0.67,0,1.09,0.84), (0.335,1.24,0.755,1.66)])

mpa__mpa_2 = lib.new_cell('mpa__mpa$2')
mpa__mpa_2.add(gdstk.Reference(mos_array_1_8, (0,0)))

mos_array_12 = lib.new_cell('mos_array$12')
R(mos_array_12, nwell, [(-0.15,-0.15,2.99,1.43)])
R(mos_array_12, diff, [(0,0,2.84,0.46)])
R(mos_array_12, poly, [(0.42,0,2.42,0.46), (1.21,0.46,1.63,1.28)])
R(mos_array_12, licon, [(0.1,0.12,0.32,0.34), (2.52,0.12,2.74,0.34), (1.31,0.96,1.53,1.18)])
R(mos_array_12, li1, [(0,0,0.42,0.46), (2.42,0,2.84,0.46), (1.21,0.86,1.63,1.28)])

mph__mph_6 = lib.new_cell('mph__mph$6')
mph__mph_6.add(gdstk.Reference(mos_array_12, (0,0)))

core__core_6 = lib.new_cell('core__core$6')
R(core__core_6, li1, [(3.575,1.24,3.995,1.41), (4.245,1.24,4.665,1.41), (3.375,2.54,3.795,2.71), (4.665,2.54,5.085,2.71)])
core__core_6.add(gdstk.FlexPath([(0.21,3.74),(-0.41,3.74)], 0.17, ends="flush", simple_path=True, layer=67, datatype=20))  # li1
core__core_6.add(gdstk.FlexPath([(0.21,0.21),(-0.51,0.21)], 0.17, ends="flush", simple_path=True, layer=67, datatype=20))  # li1
core__core_6.add(gdstk.FlexPath([(2.63,0.21),(3.45,0.21)], 0.17, ends="flush", simple_path=True, layer=67, datatype=20))  # li1
core__core_6.add(gdstk.FlexPath([(3.585,2.71),(3.585,1.975),(3.785,1.975),(3.785,1.24)], 0.17, ends="flush", simple_path=True, layer=67, datatype=20))  # li1
core__core_6.add(gdstk.FlexPath([(4.875,2.71),(4.875,1.975),(4.455,1.975),(4.455,1.24)], 0.17, ends="flush", simple_path=True, layer=67, datatype=20))  # li1
core__core_6.add(gdstk.Reference(psub_tap__psub_tap_8, (-2.14,-0.71)))
core__core_6.add(gdstk.Reference(nwell_tap__nwell_tap_8, (-2.04,2.82)))
core__core_6.add(gdstk.Reference(mnab__mnab_2, (3.24,-0.21)))
core__core_6.add(gdstk.Reference(mnt__mnt_6, (0,-0.02)))
core__core_6.add(gdstk.Reference(mpb__mpb_2, (5.42,4.16), rotation=pi))
core__core_6.add(gdstk.Reference(mpa__mpa_2, (3.04,4.16), x_reflection=True))
core__core_6.add(gdstk.Reference(mph__mph_6, (0,3.97), x_reflection=True))
core__core_6.add(gdstk.Label('vddr', (-0.1,3.74), layer=67, texttype=5))
core__core_6.add(gdstk.Label('vss', (-0.15,0.21), layer=67, texttype=5))
core__core_6.add(gdstk.Label('ny', (3.04,0.21), layer=67, texttype=5))
core__core_6.add(gdstk.Label('en', (3.685,1.975), layer=67, texttype=5))
core__core_6.add(gdstk.Label('a', (4.665,1.975), layer=67, texttype=5))
core__core_6.add(gdstk.Label('vddr', (-1.83,3.74), layer=67, texttype=5))
core__core_6.add(gdstk.Label('vss', (-1.22,0.92), layer=67, texttype=5))
core__core_6.add(gdstk.Label('mph_py', (2.63,3.74), layer=67, texttype=5))
core__core_6.add(gdstk.Label('mpa_py', (3.25,3.74), layer=67, texttype=5))
core__core_6.add(gdstk.Label('mpb_py', (5.21,3.74), layer=67, texttype=5))
core__core_6.add(gdstk.Label('mpa_y', (3.92,3.74), layer=67, texttype=5))
core__core_6.add(gdstk.Label('mpb_y', (4.54,3.74), layer=67, texttype=5))
core__core_6.add(gdstk.Label('mnab_y', (4.79,0.21), layer=67, texttype=5))
core__core_6.add(gdstk.Label('mph_g', (1.42,2.9), layer=67, texttype=5))
core__core_6.add(gdstk.Label('mnt_g', (1.42,1.05), layer=67, texttype=5))

g__ro_nand2_wstv0p46 = lib.new_cell('g__ro_nand2_wstv0p46')
R(g__ro_nand2_wstv0p46, li1, [(4.58,0,5,0.42), (-1.43,0.71,-1.01,1.13), (1.21,0.84,1.63,1.26), (1.21,2.69,1.63,3.11), (-2.04,3.53,-1.62,3.95), (2.42,3.53,2.84,3.95), (3.04,3.53,3.46,3.95), (3.04,3.53,3.46,3.95), (3.71,3.53,4.13,3.95), (4.33,3.53,4.75,3.95), (4.33,3.53,4.75,3.95), (5,3.53,5.42,3.95)])
R(g__ro_nand2_wstv0p46, mcon, [(4.68,0.1,4.9,0.32), (-1.33,0.81,-1.11,1.03), (1.31,0.94,1.53,1.16), (1.31,2.79,1.53,3.01), (-1.94,3.63,-1.72,3.85), (2.52,3.63,2.74,3.85), (3.14,3.63,3.36,3.85), (3.14,3.63,3.36,3.85), (3.81,3.63,4.03,3.85), (4.43,3.63,4.65,3.85), (4.43,3.63,4.65,3.85), (5.1,3.63,5.32,3.85)])
R(g__ro_nand2_wstv0p46, met1, [(4.58,0,5,0.42), (-1.43,0.71,-1.01,1.13), (1.21,0.84,1.63,1.26), (1.21,2.69,1.63,3.11), (-2.04,3.53,-1.62,3.95), (2.42,3.53,2.84,3.95), (3.04,3.53,3.46,3.95), (3.04,3.53,3.46,3.95), (3.71,3.53,4.13,3.95), (4.33,3.53,4.75,3.95), (4.33,3.53,4.75,3.95), (5,3.53,5.42,3.95)])
g__ro_nand2_wstv0p46.add(gdstk.FlexPath([(2.63,3.74),(3.25,3.74)], 0.17, ends="flush", simple_path=True, layer=68, datatype=20))  # met1
g__ro_nand2_wstv0p46.add(gdstk.FlexPath([(3.25,3.74),(3.25,4.5),(5.38,4.5),(5.38,3.74),(5.21,3.74)], 0.17, ends="flush", simple_path=True, layer=68, datatype=20))  # met1
g__ro_nand2_wstv0p46.add(gdstk.FlexPath([(3.92,3.74),(4.54,3.74)], 0.17, ends="flush", simple_path=True, layer=68, datatype=20))  # met1
g__ro_nand2_wstv0p46.add(gdstk.FlexPath([(4.54,3.74),(4.54,1),(4.96,1),(4.96,0.21),(4.79,0.21)], 0.17, ends="flush", simple_path=True, layer=68, datatype=20))  # met1
g__ro_nand2_wstv0p46.add(gdstk.FlexPath([(1.42,2.9),(1.42,2.73),(0.5,2.73),(0.5,0.92),(-1.22,0.92),(-1.22,0.92)], 0.17, ends="flush", simple_path=True, layer=68, datatype=20))  # met1
g__ro_nand2_wstv0p46.add(gdstk.FlexPath([(1.42,1.05),(1.42,1.22),(2,1.22),(2,4.4),(-2,4.4),(-2,3.74),(-1.83,3.74)], 0.17, ends="flush", simple_path=True, layer=68, datatype=20))  # met1
g__ro_nand2_wstv0p46.add(gdstk.Reference(core__core_6, (0,0)))
g__ro_nand2_wstv0p46.add(gdstk.Label('py', (2.94,3.74), layer=68, texttype=5))
g__ro_nand2_wstv0p46.add(gdstk.Label('py', (4.4,4.5), layer=68, texttype=5))
g__ro_nand2_wstv0p46.add(gdstk.Label('y', (4.23,3.74), layer=68, texttype=5))
g__ro_nand2_wstv0p46.add(gdstk.Label('y', (4.54,1.68), layer=68, texttype=5))
g__ro_nand2_wstv0p46.add(gdstk.Label('vss', (0.5,1.51), layer=68, texttype=5))
g__ro_nand2_wstv0p46.add(gdstk.Label('vddr', (1.55,4.4), layer=68, texttype=5))

core__place_2 = lib.new_cell('core__place$2')
core__place_2.add(gdstk.Reference(s4__ro_stage_wstv0p46, (33.825,0)))
core__place_2.add(gdstk.Reference(s3__ro_stage_wstv0p46, (25.65,0)))
core__place_2.add(gdstk.Reference(s2__ro_stage_wstv0p46, (17.475,0)))
core__place_2.add(gdstk.Reference(s1__ro_stage_wstv0p46, (9.3,0)))
core__place_2.add(gdstk.Reference(g__ro_nand2_wstv0p46, (0,0)))
core__place_2.add(gdstk.Label('g_a', (4.98,2.75), layer=67, texttype=5))
core__place_2.add(gdstk.Label('g_en', (3.685,1.975), layer=67, texttype=5))
core__place_2.add(gdstk.Label('g_y', (4.79,0.21), layer=67, texttype=5))
core__place_2.add(gdstk.Label('s1_a', (12.985,1.87), layer=67, texttype=5))
core__place_2.add(gdstk.Label('s1_y', (14.2,2.075), layer=67, texttype=5))
core__place_2.add(gdstk.Label('s2_a', (21.16,1.87), layer=67, texttype=5))
core__place_2.add(gdstk.Label('s2_y', (22.375,2.075), layer=67, texttype=5))
core__place_2.add(gdstk.Label('s3_a', (29.335,1.87), layer=67, texttype=5))
core__place_2.add(gdstk.Label('s3_y', (30.55,2.075), layer=67, texttype=5))
core__place_2.add(gdstk.Label('s4_a', (37.51,1.87), layer=67, texttype=5))
core__place_2.add(gdstk.Label('s4_y', (38.725,2.075), layer=67, texttype=5))
core__place_2.add(gdstk.Label('g_vddr_m1', (0,4.4), layer=68, texttype=5))
core__place_2.add(gdstk.Label('g_vss_m1', (0.5,2), layer=68, texttype=5))
core__place_2.add(gdstk.Label('s1_vddr_m1', (9.3,4.4), layer=68, texttype=5))
core__place_2.add(gdstk.Label('s1_vss_m1', (9.8,2), layer=68, texttype=5))
core__place_2.add(gdstk.Label('s2_vddr_m1', (17.475,4.4), layer=68, texttype=5))
core__place_2.add(gdstk.Label('s2_vss_m1', (17.975,2), layer=68, texttype=5))
core__place_2.add(gdstk.Label('s3_vddr_m1', (25.65,4.4), layer=68, texttype=5))
core__place_2.add(gdstk.Label('s3_vss_m1', (26.15,2), layer=68, texttype=5))
core__place_2.add(gdstk.Label('s4_vddr_m1', (33.825,4.4), layer=68, texttype=5))
core__place_2.add(gdstk.Label('s4_vss_m1', (34.325,2), layer=68, texttype=5))

core__sig_2 = lib.new_cell('core__sig$2')
A(core__sig_2, li1, 12.775, 1.66, 0.42, 0.42, 4, 1, 8.175, 0)
A(core__sig_2, li1, 13.99, 1.865, 0.42, 0.42, 3, 1, 8.175, 0)
R(core__sig_2, li1, [(4.58,0,5,0.42)])
A(core__sig_2, mcon, 12.875, 1.76, 0.22, 0.22, 4, 1, 8.175, 0)
A(core__sig_2, mcon, 14.09, 1.965, 0.22, 0.22, 3, 1, 8.175, 0)
R(core__sig_2, mcon, [(4.68,0.1,4.9,0.32)])
A(core__sig_2, met1, 12.775, 1.66, 0.42, 0.42, 4, 1, 8.175, 0)
A(core__sig_2, met1, 13.99, 1.865, 0.42, 0.42, 3, 1, 8.175, 0)
R(core__sig_2, met1, [(4.58,0,5,0.42)])
core__sig_2.add(gdstk.FlexPath([(4.79,0.21),(4.79,-1.5),(12.985,-1.5),(12.985,1.87)], 0.17, ends="flush", simple_path=True, layer=68, datatype=20))  # met1
core__sig_2.add(gdstk.FlexPath([(14.2,2.075),(14.2,-1.5),(21.16,-1.5),(21.16,1.87)], 0.17, ends="flush", simple_path=True, layer=68, datatype=20))  # met1
core__sig_2.add(gdstk.FlexPath([(22.375,2.075),(22.375,-1.5),(29.335,-1.5),(29.335,1.87)], 0.17, ends="flush", simple_path=True, layer=68, datatype=20))  # met1
core__sig_2.add(gdstk.FlexPath([(30.55,2.075),(30.55,-1.5),(37.51,-1.5),(37.51,1.87)], 0.17, ends="flush", simple_path=True, layer=68, datatype=20))  # met1
core__sig_2.add(gdstk.Reference(core__place_2, (0,0)))
core__sig_2.add(gdstk.Label('g_a', (4.98,2.75), layer=67, texttype=5))
core__sig_2.add(gdstk.Label('g_en', (3.685,1.975), layer=67, texttype=5))
core__sig_2.add(gdstk.Label('s4_y', (38.725,2.075), layer=67, texttype=5))
core__sig_2.add(gdstk.Label('n1', (9.718,-1.5), layer=68, texttype=5))
core__sig_2.add(gdstk.Label('n2', (17.578,-1.5), layer=68, texttype=5))
core__sig_2.add(gdstk.Label('n3', (25.752,-1.5), layer=68, texttype=5))
core__sig_2.add(gdstk.Label('n4', (33.928,-1.5), layer=68, texttype=5))
core__sig_2.add(gdstk.Label('g_vddr_m1', (0,4.4), layer=68, texttype=5))
core__sig_2.add(gdstk.Label('g_vss_m1', (0.5,2), layer=68, texttype=5))
core__sig_2.add(gdstk.Label('s1_vddr_m1', (9.3,4.4), layer=68, texttype=5))
core__sig_2.add(gdstk.Label('s1_vss_m1', (9.8,2), layer=68, texttype=5))
core__sig_2.add(gdstk.Label('s2_vddr_m1', (17.475,4.4), layer=68, texttype=5))
core__sig_2.add(gdstk.Label('s2_vss_m1', (17.975,2), layer=68, texttype=5))
core__sig_2.add(gdstk.Label('s3_vddr_m1', (25.65,4.4), layer=68, texttype=5))
core__sig_2.add(gdstk.Label('s3_vss_m1', (26.15,2), layer=68, texttype=5))
core__sig_2.add(gdstk.Label('s4_vddr_m1', (33.825,4.4), layer=68, texttype=5))
core__sig_2.add(gdstk.Label('s4_vss_m1', (34.325,2), layer=68, texttype=5))

lib.write_gds('core__sig_2.gds')
